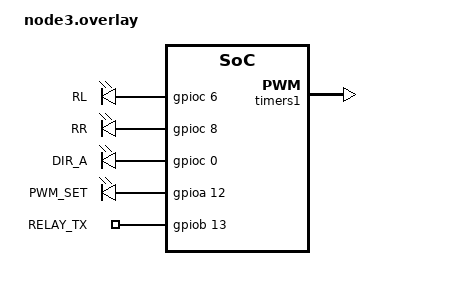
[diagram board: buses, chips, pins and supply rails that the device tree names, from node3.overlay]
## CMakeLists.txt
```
cmake_minimum_required(VERSION 3.20.0)

# One app, two zones. Pick the zone at build time:
#   west build -p always -b nucleo_f401re car_can_app -- -DNODE_ID=2   (N2 front / steering)
#   west build -p always -b nucleo_f401re car_can_app -- -DNODE_ID=3   (N3 rear / drivetrain)
set(NODE_ID 2 CACHE STRING "Zone node number (2 = steering, 3 = drivetrain)")

if(NOT NODE_ID STREQUAL "2" AND NOT NODE_ID STREQUAL "3")
  message(FATAL_ERROR "NODE_ID must be 2 or 3 (got ${NODE_ID})")
endif()

# boards/nucleo_f401re.overlay (shared pins) is picked up automatically;
# the zone-specific pins come from node2.overlay or node3.overlay.
# This must be set before find_package(Zephyr).
set(EXTRA_DTC_OVERLAY_FILE ${CMAKE_CURRENT_SOURCE_DIR}/node${NODE_ID}.overlay)

# Part 3 measurement build: -DWCET=1 adds per-task execution-time
# measurement (src/wcet.c) and the thread runtime statistics it needs.
set(WCET 0 CACHE STRING "1 = build with execution-time measurement")
if(WCET)
  list(APPEND EXTRA_CONF_FILE ${CMAKE_CURRENT_SOURCE_DIR}/wcet.conf)
endif()

find_package(Zephyr REQUIRED HINTS $ENV{ZEPHYR_BASE})
project(car_can_app)

target_compile_definitions(app PRIVATE NODE_ID=${NODE_ID} WCET=${WCET})
if(WCET)
  target_sources(app PRIVATE src/wcet.c)
endif()

target_sources(app PRIVATE
  src/main.c
  src/canbus.c
  src/state.c
  src/monitor.c
  src/button.c
  src/blink.c
  src/relay.c
  src/node${NODE_ID}.c
)
```

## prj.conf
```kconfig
# Drivers
CONFIG_GPIO=y
CONFIG_SPI=y
CONFIG_CAN=y
CONFIG_CAN_MCP2515=y
CONFIG_PWM=y
CONFIG_WATCHDOG=y

# MCP2515 interrupt thread. It is a cooperative thread (K_PRIO_COOP(2)),
# so it runs above every preemptible thread in this app; our RX callback
# runs inside it. 1024 is the driver default, stated here so it is visible.
CONFIG_CAN_MCP2515_INT_THREAD_PRIO=2
CONFIG_CAN_MCP2515_INT_THREAD_STACK_SIZE=1024

# Console (USART2 on the ST-LINK USB) for the 1 s status report
CONFIG_PRINTK=y
CONFIG_SERIAL=y

# PID (N3) uses float; save FP context when float threads preempt each other
CONFIG_FPU=y
CONFIG_FPU_SHARING=y

# Stack checking while developing; costs a little time per context switch
CONFIG_HW_STACK_PROTECTION=y
```

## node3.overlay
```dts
/*
 * N3 rear / drivetrain zone
 *   PWM_OUT  PA8  (D7)      TIM1_CH1 motor PWM, 20 kHz (scoped, not wired to the H-bridge)
 *   DIR_A    PC0  (A5)      1 = drive forward (IN1=1, IN2=0), 0 = brake
 *   PWM_SET  PA12 (morpho)  toggles each time DRIVE / PID writes a new duty
 *   RL       PC6  (morpho)  rear-left blinker LED + test point
 *   RR       PC8  (morpho)  rear-right blinker LED + test point
 *   RELAY_TX PB13 (morpho CN10-30) N3 relays in checkoff cases 3-4;
 *                           optional test point (not on the handout's N3 board)
 */

/ {
    zone_outputs {
        compatible = "gpio-leds";

        blink_left:  blink_left  { gpios = <&gpioc 6  GPIO_ACTIVE_HIGH>; label = "RL"; };
        blink_right: blink_right { gpios = <&gpioc 8  GPIO_ACTIVE_HIGH>; label = "RR"; };
        tp_dir_a:    tp_dir_a    { gpios = <&gpioc 0  GPIO_ACTIVE_HIGH>; label = "DIR_A"; };
        tp_pwm_set:  tp_pwm_set  { gpios = <&gpioa 12 GPIO_ACTIVE_HIGH>; label = "PWM_SET"; };
        tp_relay_tx: tp_relay_tx { gpios = <&gpiob 13 GPIO_ACTIVE_HIGH>; label = "RELAY_TX"; };
    };
};

&timers1 {
    status = "okay";
    motor_pwm: pwm {
        status = "okay";
        pinctrl-0 = <&tim1_ch1_pa8>;
        pinctrl-names = "default";
    };
};
```

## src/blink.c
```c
/*
 * blink.c - BLINK_F (N2) / BLINK_R (N3)
 *
 * The cockpit is the blinker master. It sends BLINK (state + phase) on
 * every state change and on every 500 ms toggle edge. This zone drives
 * its two lamps the moment a BLINK frame is handed over, so the front /
 * rear edge difference is the difference of the two receive paths, not
 * of two free-running clocks.
 *
 * In the error state the zone must show hazards even if the cockpit has
 * not (yet) switched BLINK to hazard, or the cockpit is gone: then it
 * falls back to its own 500 ms hazard timer (re-evaluated every 20 ms).
 *
 * Keeping the local timers of N2 and N3 in step (cold start with the
 * proxy stopped, or the cockpit lost):
 *   - every BLINK frame re-anchors the local timer to the cockpit's phase,
 *     so a fallback after the cockpit disappears continues in phase;
 *   - N2 puts "ms to my next edge" and "lamps on now" in its heartbeat
 *     (blink_sync_info) and N3 re-anchors to it on every HB_N2
 *     (blink_follow), so the two local timers stay within the receive
 *     latency of each other even when the cockpit was never there.
 */

#include <zephyr/kernel.h>
#include <zephyr/drivers/gpio.h>
#include <zephyr/spinlock.h>

#include "catalog.h"
#include "config.h"
#include "node.h"
#include "state.h"
#include "wcet.h"

#define BLINK_STALE_MS   1200       /* > two 500 ms toggles without BLINK = cockpit gone */
#define LOCAL_HALF_MS    500        /* 1 Hz hazard when running on our own timer */

static const struct gpio_dt_spec lamp_l = GPIO_DT_SPEC_GET(DT_NODELABEL(blink_left), gpios);
static const struct gpio_dt_spec lamp_r = GPIO_DT_SPEC_GET(DT_NODELABEL(blink_right), gpios);

static struct k_spinlock lock;
static uint8_t rx_state = BLINK_OFF;
static uint8_t rx_phase;
static uint32_t rx_ms;
static bool rx_any;
static uint32_t epoch_ms;          /* local hazard: lamps on during [epoch + 2k*500, epoch + (2k+1)*500) */

K_SEM_DEFINE(blink_sem, 0, 1);

void blink_on_frame(uint8_t state, uint8_t phase)
{
    k_spinlock_key_t key = k_spin_lock(&lock);
    rx_state = state;
    rx_phase = phase;
    rx_ms = k_uptime_get_32();
    rx_any = true;
    /* re-anchor the local timer: an "on" phase starts now, an "off" phase
     * started one half-period ago */
    epoch_ms = phase ? rx_ms : rx_ms - LOCAL_HALF_MS;
    k_spin_unlock(&lock, key);
    k_sem_give(&blink_sem);
}

static bool local_on(uint32_t now)
{
    return (((now - epoch_ms) / LOCAL_HALF_MS) % 2) == 0;
}

void blink_sync_info(uint8_t out[3])
{
    k_spinlock_key_t key = k_spin_lock(&lock);
    uint32_t now = k_uptime_get_32();
    uint32_t to_edge = LOCAL_HALF_MS - ((now - epoch_ms) % LOCAL_HALF_MS);
    bool on = local_on(now);
    k_spin_unlock(&lock, key);
    out[0] = (uint8_t)(to_edge & 0xFF);
    out[1] = (uint8_t)(to_edge >> 8);
    out[2] = on ? 1 : 0;
}

void blink_follow(const uint8_t in[3])
{
    uint32_t to_edge = (uint32_t)in[0] | ((uint32_t)in[1] << 8);
    if (to_edge == 0 || to_edge > LOCAL_HALF_MS) {
        return;                                 /* not a sync field (old firmware / cockpit) */
    }
    k_spinlock_key_t key = k_spin_lock(&lock);
    uint32_t now = k_uptime_get_32();
    uint32_t into_half = LOCAL_HALF_MS - to_edge;
    epoch_ms = now - into_half - (in[2] ? 0 : LOCAL_HALF_MS);
    k_spin_unlock(&lock, key);
}

void blink_kick(void)
{
    k_sem_give(&blink_sem);
}

static void lamps(uint8_t state, bool on)
{
    bool l = on && (state == BLINK_LEFT || state == BLINK_HAZARD);
    bool r = on && (state == BLINK_RIGHT || state == BLINK_HAZARD);
    gpio_pin_set_dt(&lamp_l, l);
    gpio_pin_set_dt(&lamp_r, r);
}

K_THREAD_STACK_DEFINE(blink_stack, STACK_SMALL);
static struct k_thread blink_thread;

static void blink_fn(void *a, void *b, void *c)
{
    ARG_UNUSED(a); ARG_UNUSED(b); ARG_UNUSED(c);

    while (1) {
        k_sem_take(&blink_sem, K_MSEC(BLINK_TICK_MS));
        WCET_BEGIN(blink);

        uint32_t now = k_uptime_get_32();
        k_spinlock_key_t key = k_spin_lock(&lock);
        uint8_t st = rx_state, ph = rx_phase;
        bool fresh = rx_any && (now - rx_ms) < BLINK_STALE_MS;
        bool lon = local_on(now);
        k_spin_unlock(&lock, key);

        bool err = state_in_error();
        if (fresh && (!err || st == BLINK_HAZARD)) {
            lamps(st, ph != 0);                         /* follow the cockpit */
        } else if (err) {
            lamps(BLINK_HAZARD, lon);                   /* local hazards, kept in step (above) */
        } else {
            lamps(BLINK_OFF, false);
        }
        WCET_END(W_BLINK, blink);
    }
}

int blink_init(void)
{
    if (!gpio_is_ready_dt(&lamp_l) || !gpio_is_ready_dt(&lamp_r)) {
        return -ENODEV;
    }
    gpio_pin_configure_dt(&lamp_l, GPIO_OUTPUT_INACTIVE);
    gpio_pin_configure_dt(&lamp_r, GPIO_OUTPUT_INACTIVE);

    k_thread_create(&blink_thread, blink_stack, K_THREAD_STACK_SIZEOF(blink_stack),
                    blink_fn, NULL, NULL, NULL, PRIO_BLINK, 0, K_NO_WAIT);
    k_thread_name_set(&blink_thread, "blink");
    return 0;
}
```

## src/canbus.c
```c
/*
 * canbus.c - two MCP2515 controllers, one dispatch path
 *
 * Receive path (per frame, per bus):
 *   INT pin falls -> driver GPIO ISR gives a semaphore
 *   -> MCP2515 interrupt thread (cooperative, above all our threads)
 *      reads the frame over SPI and calls rx_cb()
 *   -> rx_cb: stamp the bus as alive, put the frame on rx_q. No printing,
 *      no blocking.
 *   -> DISPATCH thread: toggle CAN_RX_x ("when dispatch first gets the
 *      frame"), drop our own / duplicate / stale copies by
 *      (ID, sender, seq), hand first copies to RELAY and to
 *      app_on_frame(). Nothing above DISPATCH sees a duplicate.
 *
 * Transmit: canbus_send_both() bumps the per-ID sequence counter once and
 * queues the frame on A then B without blocking (K_NO_WAIT plus a
 * completion callback), so a dead bus can never stall a task.
 */

#include <zephyr/kernel.h>
#include <zephyr/device.h>
#include <zephyr/drivers/can.h>
#include <zephyr/drivers/gpio.h>
#include <zephyr/sys/atomic.h>
#include <zephyr/spinlock.h>

#include <string.h>

#include "canbus.h"
#include "catalog.h"
#include "config.h"
#include "wcet.h"

static const struct device *const can_devs[NUM_BUSES] = {
    DEVICE_DT_GET(DT_NODELABEL(can_a)),
    DEVICE_DT_GET(DT_NODELABEL(can_b)),
};

static const struct gpio_dt_spec tp_rx[NUM_BUSES] = {
    GPIO_DT_SPEC_GET(DT_NODELABEL(tp_can_rx_a), gpios),
    GPIO_DT_SPEC_GET(DT_NODELABEL(tp_can_rx_b), gpios),
};
static const struct gpio_dt_spec tp_tx[NUM_BUSES] = {
    GPIO_DT_SPEC_GET(DT_NODELABEL(tp_can_tx_a), gpios),
    GPIO_DT_SPEC_GET(DT_NODELABEL(tp_can_tx_b), gpios),
};

/* IDs this zone listens to (everything in the catalog it consumes) */
#if NODE_ID == 2
static const uint16_t rx_ids[] = { ID_CTRL, ID_FAULT, ID_HB_N1, ID_HB_N3, ID_BLINK };
#else
static const uint16_t rx_ids[] = { ID_CTRL, ID_FAULT, ID_HB_N1, ID_HB_N2, ID_BLINK };
#endif

/* ------------------------------------------------------------------ */
/* Statistics and bus health (atomics: written from several contexts)  */
/* ------------------------------------------------------------------ */

static atomic_t last_rx_ms[NUM_BUSES];
static atomic_t degraded[NUM_BUSES];
static atomic_t st_rx[NUM_BUSES], st_tx_ok[NUM_BUSES], st_tx_err[NUM_BUSES], st_tx_refused[NUM_BUSES];
static atomic_t st_dup, st_stale, st_overflow;

/* ------------------------------------------------------------------ */
/* Receive: driver callback -> queue                                  */
/* ------------------------------------------------------------------ */

struct rx_item {
    struct can_frame frame;
    uint32_t t_ms;
    uint8_t bus;
};

K_MSGQ_DEFINE(rx_q, sizeof(struct rx_item), 32, 4);

/* Runs in the MCP2515 interrupt thread (cooperative), not in an ISR. */
static void rx_cb(const struct device *dev, struct can_frame *frame, void *user_data)
{
    ARG_UNUSED(dev);
    uint8_t bus = (uint8_t)(uintptr_t)user_data;
    struct rx_item it = {
        .frame = *frame,
        .t_ms = k_uptime_get_32(),
        .bus = bus,
    };

    wcet_rx_delivered(bus);
    atomic_set(&last_rx_ms[bus], (atomic_val_t)it.t_ms);
    atomic_inc(&st_rx[bus]);

    if (k_msgq_put(&rx_q, &it, K_NO_WAIT) != 0) {
        atomic_inc(&st_overflow);
    }
}

/* ------------------------------------------------------------------ */
/* Duplicate / stale filter - DISPATCH thread only, so no lock needed  */
/* ------------------------------------------------------------------ */

struct seen {
    uint16_t id;
    uint8_t src;
    uint8_t seq;
    uint32_t t_ms;
    bool used;
};

static struct seen seen_tab[12];

enum verdict { ACCEPT, DUPLICATE, STALE };

static enum verdict check_seq(uint16_t id, uint8_t src, uint8_t seq, uint32_t now)
{
    struct seen *e = NULL;

    for (int i = 0; i < ARRAY_SIZE(seen_tab); i++) {
        if (seen_tab[i].used && seen_tab[i].id == id && seen_tab[i].src == src) {
            e = &seen_tab[i];
            break;
        }
    }
    if (e == NULL) {
        for (int i = 0; i < ARRAY_SIZE(seen_tab); i++) {
            if (!seen_tab[i].used) {
                e = &seen_tab[i];
                e->used = true;
                e->id = id;
                e->src = src;
                e->seq = seq;
                e->t_ms = now;
                return ACCEPT;
            }
        }
        return ACCEPT;                          /* table full: never drop */
    }

    uint8_t ahead = (uint8_t)((seq - e->seq) & 0x0F);
    uint32_t age = now - e->t_ms;

    if (ahead == 0 && age < DEDUP_WINDOW_MS) {
        return DUPLICATE;                       /* other bus's copy, or the relayed copy */
    }
    if (ahead >= 9 && age < STALE_WINDOW_MS) {
        return STALE;                           /* 1..7 behind: an old buffered frame */
    }
    e->seq = seq;
    e->t_ms = now;
    return ACCEPT;
}

/* ------------------------------------------------------------------ */
/* DISPATCH thread                                                    */
/* ------------------------------------------------------------------ */

K_THREAD_STACK_DEFINE(dispatch_stack, STACK_MEDIUM);
static struct k_thread dispatch_thread;

static void dispatch_fn(void *a, void *b, void *c)
{
    ARG_UNUSED(a); ARG_UNUSED(b); ARG_UNUSED(c);
    struct rx_item it;

    while (1) {
        k_msgq_get(&rx_q, &it, K_FOREVER);
        gpio_pin_toggle_dt(&tp_rx[it.bus]);     /* CAN_RX_x: dispatch first gets the frame */
        WCET_BEGIN(disp);

        const struct can_frame *f = &it.frame;
        if (f->dlc != CAT_DLC || (f->flags & CAN_FRAME_RTR)) {
            continue;                           /* not a catalog frame */
        }
        uint8_t src = cat_source(f->id, f->data);
        if (src == 0 || src == NODE_ID) {
            continue;
        }

        switch (check_seq(f->id, src, f->data[0] & 0x0F, it.t_ms)) {
        case DUPLICATE:
            atomic_inc(&st_dup);
            continue;
        case STALE:
            atomic_inc(&st_stale);
            continue;
        case ACCEPT:
            break;
        }

        relay_post(f, it.bus);                  /* forwarded on the other bus by RELAY */
        app_on_frame(f, it.bus, src);
        WCET_END(W_DISPATCH, disp);
    }
}

/* ------------------------------------------------------------------ */
/* Transmit                                                           */
/* ------------------------------------------------------------------ */

#define TX_BUFFER_WAIT  K_USEC(600)

/* One counter per ID this zone sends (HB, FAULT, FORCE). */
static atomic_t seq_hb, seq_fault, seq_force, seq_other;

static atomic_t *seq_for(uint16_t id)
{
    switch (id) {
    case ID_HB_N2:
    case ID_HB_N3: return &seq_hb;
    case ID_FAULT: return &seq_fault;
    case ID_FORCE: return &seq_force;
    default:       return &seq_other;
    }
}

/* Runs in the driver's interrupt thread when a frame finishes. */
static void tx_cb(const struct device *dev, int error, void *user_data)
{
    ARG_UNUSED(dev);
    int bus = (int)(uintptr_t)user_data;
    wcet_tx_delivered(bus);
    if (error == 0) {
        atomic_inc(&st_tx_ok[bus]);
    } else {
        atomic_inc(&st_tx_err[bus]);
    }
}

static int queue_on(int bus, const struct can_frame *f)
{
    gpio_pin_toggle_dt(&tp_tx[bus]);            /* CAN_TX_x: the call that queues the frame */
    WCET_BEGIN(spi);
    /* Wait up to TX_BUFFER_WAIT for one of the 3 MCP2515 TX buffers to free
     * up (one frame on the wire is 270 us), instead of dropping the frame
     * when two or three others are still queued. The completion is still a
     * callback, so this never waits for the frame itself to be sent. */
    int err = can_send(can_devs[bus], f, TX_BUFFER_WAIT, tx_cb, (void *)(uintptr_t)bus);
    WCET_END(W_SPI_TX, spi);
    if (err != 0) {
        atomic_inc(&st_tx_refused[bus]);        /* buffers full (no ACK) or controller stopped */
    }
    return err;
}

void canbus_send_both(uint16_t id, uint8_t data[8], bool is_heartbeat)
{
    uint8_t seq = (uint8_t)atomic_inc(seq_for(id));    /* bumped once for both copies */

    struct can_frame f = {
        .id = id,
        .dlc = CAT_DLC,
        .flags = 0,
    };
    data[0] = (uint8_t)((data[0] & 0xF0) | (seq & 0x0F));
    memcpy(f.data, data, CAT_DLC);

    for (int bus = 0; bus < NUM_BUSES; bus++) {
        if (atomic_get(&degraded[bus]) && !is_heartbeat) {
            continue;
        }
        queue_on(bus, &f);
    }
}

int canbus_send_one(int bus, const struct can_frame *frame)
{
    if (atomic_get(&degraded[bus])) {
        return -ENETDOWN;
    }
    return queue_on(bus, frame);
}

/* ------------------------------------------------------------------ */
/* Health                                                             */
/* ------------------------------------------------------------------ */

uint32_t canbus_last_rx_ms(int bus)
{
    return (uint32_t)atomic_get(&last_rx_ms[bus]);
}

bool canbus_is_degraded(int bus)
{
    return atomic_get(&degraded[bus]) != 0;
}

void canbus_set_degraded(int bus, bool deg)
{
    bool was = atomic_set(&degraded[bus], deg ? 1 : 0) != 0;

    if (deg && !was) {
        /* Throw away frames stuck in the TX buffers waiting for an ACK,
         * so stale CTRL/HB copies are not sent when the wire comes back.
         * Filters survive stop/start. */
        can_stop(can_devs[bus]);
        can_start(can_devs[bus]);
    }
}

void canbus_get_stats(struct canbus_stats *out)
{
    for (int b = 0; b < NUM_BUSES; b++) {
        out->rx[b] = atomic_get(&st_rx[b]);
        out->tx_ok[b] = atomic_get(&st_tx_ok[b]);
        out->tx_err[b] = atomic_get(&st_tx_err[b]);
        out->tx_refused[b] = atomic_get(&st_tx_refused[b]);
    }
    out->dup_dropped = atomic_get(&st_dup);
    out->stale_dropped = atomic_get(&st_stale);
    out->rxq_overflow = atomic_get(&st_overflow);
}

const struct device *canbus_dev(int bus)
{
    return can_devs[bus];
}

/* ------------------------------------------------------------------ */
/* Init                                                               */
/* ------------------------------------------------------------------ */

int canbus_init(void)
{
    uint32_t now = k_uptime_get_32();

    for (int bus = 0; bus < NUM_BUSES; bus++) {
        if (!device_is_ready(can_devs[bus]) ||
            !gpio_is_ready_dt(&tp_rx[bus]) || !gpio_is_ready_dt(&tp_tx[bus])) {
            printk("CAN %c: not ready\n", 'A' + bus);
            return -ENODEV;
        }
        gpio_pin_configure_dt(&tp_rx[bus], GPIO_OUTPUT_INACTIVE);
        gpio_pin_configure_dt(&tp_tx[bus], GPIO_OUTPUT_INACTIVE);

        for (int i = 0; i < ARRAY_SIZE(rx_ids); i++) {
            const struct can_filter flt = {
                .id = rx_ids[i],
                .mask = CAN_STD_ID_MASK,
                .flags = 0,
            };
            int id = can_add_rx_filter(can_devs[bus], rx_cb, (void *)(uintptr_t)bus, &flt);
            if (id < 0) {
                printk("CAN %c: filter 0x%03x failed (%d)\n", 'A' + bus, rx_ids[i], id);
                return id;
            }
        }

        int err = can_start(can_devs[bus]);
        if (err != 0) {
            printk("CAN %c: start failed (%d)\n", 'A' + bus, err);
            return err;
        }
        atomic_set(&last_rx_ms[bus], (atomic_val_t)now);   /* grace period at boot */
    }

    k_thread_create(&dispatch_thread, dispatch_stack, K_THREAD_STACK_SIZEOF(dispatch_stack),
                    dispatch_fn, NULL, NULL, NULL, PRIO_DISPATCH, 0, K_NO_WAIT);
    k_thread_name_set(&dispatch_thread, "dispatch");
    return 0;
}
```

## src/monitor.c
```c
#include <zephyr/kernel.h>
#include <zephyr/drivers/gpio.h>
#include <zephyr/drivers/watchdog.h>
#include <zephyr/sys/atomic.h>

#include "canbus.h"
#include "catalog.h"
#include "config.h"
#include "node.h"
#include "state.h"
#include "wcet.h"

static const struct gpio_dt_spec led_deg[NUM_BUSES] = {
    GPIO_DT_SPEC_GET(DT_NODELABEL(led_deg_a), gpios),
    GPIO_DT_SPEC_GET(DT_NODELABEL(led_deg_b), gpios),
};

static const struct device *const wdt_dev = DEVICE_DT_GET(DT_NODELABEL(iwdg));
static int wdt_channel = -1;
static atomic_t wdt_bits;

void wdt_checkin(uint32_t bit)
{
    atomic_or(&wdt_bits, (atomic_val_t)bit);
}

#if NODE_ID == 2
static const uint8_t other_zones[2] = { ZONE_N1, ZONE_N3 };
#else
static const uint8_t other_zones[2] = { ZONE_N1, ZONE_N2 };
#endif

/* ------------------------------------------------------------------ */
/* HB_TX                                                              */
/* ------------------------------------------------------------------ */

static uint8_t zones_heard_bits(uint32_t now)
{
    uint8_t bits = (uint8_t)(1u << NODE_ID);
    for (int i = 0; i < 2; i++) {
        struct peer_info p;
        state_get_peer(other_zones[i], &p);
        if (p.last_hb_ms != 0 && (now - p.last_hb_ms) < ZONE_TIMEOUT_MS) {
            bits |= (uint8_t)(1u << other_zones[i]);
        }
    }
    return bits;
}

K_TIMER_DEFINE(hb_timer, NULL, NULL);
K_THREAD_STACK_DEFINE(hb_tx_stack, STACK_SMALL);
static struct k_thread hb_tx_thread;

static void hb_tx_fn(void *a, void *b, void *c)
{
    ARG_UNUSED(a); ARG_UNUSED(b); ARG_UNUSED(c);
    const uint16_t my_id = (NODE_ID == 2) ? ID_HB_N2 : ID_HB_N3;

    k_timer_start(&hb_timer, K_MSEC(HB_PERIOD_MS), K_MSEC(HB_PERIOD_MS));
    while (1) {
        k_timer_status_sync(&hb_timer);
        WCET_BEGIN(hbtx);

        if (state_reasons() & ERR_TEST) {
            /* Test button: this node has failed itself. It sent one FAULT
             * and goes silent so the others also see missed heartbeats. */
            WCET_END(W_HB_TX, hbtx);
            wdt_checkin(WDT_BIT_HB_TX);
            continue;
        }
        uint32_t now = k_uptime_get_32();
        uint8_t d[8] = { 0 };
        d[1] = state_in_error() ? 0 : 1;
        d[2] = (canbus_is_degraded(BUS_A) ? 0 : 0x01) | (canbus_is_degraded(BUS_B) ? 0 : 0x02);
        d[3] = (uint8_t)state_reasons();
        d[4] = zones_heard_bits(now);
#if NODE_ID == 2
        blink_sync_info(&d[5]);                 /* local hazard timing for N3 */
#endif
        canbus_send_both(my_id, d, true);
        WCET_END(W_HB_TX, hbtx);

        wdt_checkin(WDT_BIT_HB_TX);
    }
}

/* ------------------------------------------------------------------ */
/* HB_MON                                                             */
/* ------------------------------------------------------------------ */

K_THREAD_STACK_DEFINE(hb_mon_stack, STACK_SMALL);
static struct k_thread hb_mon_thread;

static void hb_mon_fn(void *a, void *b, void *c)
{
    ARG_UNUSED(a); ARG_UNUSED(b); ARG_UNUSED(c);
    bool zone_alive[2] = { false, false };

    while (1) {
        k_msleep(HB_MON_PERIOD_MS);
        WCET_BEGIN(hbmon);
        uint32_t now = k_uptime_get_32();

        /* Per-bus health (R4.7): any frame from anyone on that bus */
        for (int bus = 0; bus < NUM_BUSES; bus++) {
            /* signed difference: a frame can arrive (rx_cb, cooperative thread) between
             * reading 'now' and last_rx, which made the unsigned subtraction wrap and look
             * like 4 billion ms of silence (spurious degrade + TX flush) */
            bool deg = (int32_t)(now - canbus_last_rx_ms(bus)) >= (int32_t)DEG_TIMEOUT_MS;
            if (deg != canbus_is_degraded(bus)) {
                /* LED FIRST: it must never wait for the controller flush below */
                gpio_pin_set_dt(&led_deg[bus], deg);
                k_busy_wait(200);                       /* let the pin settle, then read the real level */
                printk("DEG %c %s at %u ms (last rx %u ms ago); pin set to %d, reads back %d\n",
                       'A' + bus, deg ? "ON " : "off", now, now - canbus_last_rx_ms(bus),
                       deg ? 1 : 0, gpio_pin_get_dt(&led_deg[bus]));
                canbus_set_degraded(bus, deg);          /* can_stop()/can_start() when entering */
                printk("DEG %c flush done, took %u ms\n", 'A' + bus, k_uptime_get_32() - now);
            }
        }

        /* Zone liveness (R4.5): heartbeat on at least one bus, relayed counts */
        bool all_alive = true;
        bool remote_still_reported = false;
        for (int i = 0; i < 2; i++) {
            struct peer_info p;
            state_get_peer(other_zones[i], &p);
            bool alive = p.last_hb_ms != 0 && (now - p.last_hb_ms) < ZONE_TIMEOUT_MS;
            if (zone_alive[i] && !alive) {
                state_send_fault(other_zones[i], FAULT_ZONE_LOST);
            }
            zone_alive[i] = alive;
            all_alive &= alive;
            if (alive && (p.reasons & ERR_PROPAGATE)) {
                remote_still_reported = true;
            }
        }
        if (all_alive) {
            state_clear(ERR_ZONE_LOST);
        } else {
            state_set(ERR_ZONE_LOST);
        }

        /* CTRL stream */
        struct ctrl_cmd c;
        state_get_ctrl(&c);
        if (c.valid && (now - c.t_ms) < CTRL_TIMEOUT_MS) {
            state_clear(ERR_CTRL_LOST);
        } else {
            state_set(ERR_CTRL_LOST);
        }

        /* Holds */
        uint32_t r = state_reasons();
        if ((r & ERR_BADCMD) && (now - state_last_badcmd_ms()) >= BADCMD_HOLD_MS) {
            state_clear(ERR_BADCMD);
        }
        if ((r & ERR_REMOTE) && !remote_still_reported &&
            (now - state_last_remote_fault_ms()) >= REMOTE_HOLD_MS) {
            state_clear(ERR_REMOTE);
        }

        WCET_END(W_HB_MON, hbmon);
        wdt_checkin(WDT_BIT_HB_MON);
    }
}

/* ------------------------------------------------------------------ */
/* Report (low priority, printk only here)                             */
/* ------------------------------------------------------------------ */

K_THREAD_STACK_DEFINE(report_stack, STACK_REPORT);
static struct k_thread report_thread;

static void report_fn(void *a, void *b, void *c)
{
    ARG_UNUSED(a); ARG_UNUSED(b); ARG_UNUSED(c);

    uint32_t passes = 0;

    while (1) {
        k_msleep(REPORT_PERIOD_MS);
        if ((++passes % 5) == 0) {
            wcet_report();                      /* no-op unless built with -DWCET=1 */
        }
        uint32_t now = k_uptime_get_32();
        struct canbus_stats s;
        struct ctrl_cmd ctl;
        canbus_get_stats(&s);
        state_get_ctrl(&ctl);
        uint32_t r = state_reasons();

        printk("[%u] N%d %s reasons=0x%02x%s%s%s%s%s | DEG A=%d B=%d | last rx age A=%d B=%d ms | LED pin reads A=%d B=%d | heard=0x%02x\n",
               now, NODE_ID, r ? "ERROR" : "NORMAL", r,
               (r & ERR_CTRL_LOST) ? " CTRL_LOST" : "",
               (r & ERR_ZONE_LOST) ? " ZONE_LOST" : "",
               (r & ERR_TEST) ? " TEST" : "",
               (r & ERR_BADCMD) ? " BADCMD" : "",
               (r & ERR_REMOTE) ? " REMOTE" : "",
               canbus_is_degraded(BUS_A), canbus_is_degraded(BUS_B),
               (int32_t)(now - canbus_last_rx_ms(BUS_A)), (int32_t)(now - canbus_last_rx_ms(BUS_B)),
               gpio_pin_get_dt(&led_deg[BUS_A]), gpio_pin_get_dt(&led_deg[BUS_B]),
               zones_heard_bits(now));
        printk("    rx A/B %u/%u  tx ok A/B %u/%u  err %u/%u  refused %u/%u  dup %u stale %u ovf %u\n",
               s.rx[0], s.rx[1], s.tx_ok[0], s.tx_ok[1], s.tx_err[0], s.tx_err[1],
               s.tx_refused[0], s.tx_refused[1], s.dup_dropped, s.stale_dropped, s.rxq_overflow);
        uint32_t entries, cnt[5];
        state_get_diag(&entries, cnt);
        printk("    error entries=%u  set counts: CTRL_LOST=%u ZONE_LOST=%u TEST=%u BADCMD=%u REMOTE=%u\n",
               entries, cnt[0], cnt[1], cnt[2], cnt[3], cnt[4]);
        if (ctl.valid) {
            printk("    ctrl steer=%d thr=%u brk=%u btn=0x%02x age=%u ms\n",
                   ctl.steer, ctl.thr, ctl.brk, ctl.buttons, now - ctl.t_ms);
        }
    }
}

/* ------------------------------------------------------------------ */
/* Watchdog                                                           */
/* ------------------------------------------------------------------ */

K_THREAD_STACK_DEFINE(wdt_stack, STACK_SMALL);
static struct k_thread wdt_thread;

static void wdt_fn(void *a, void *b, void *c)
{
    ARG_UNUSED(a); ARG_UNUSED(b); ARG_UNUSED(c);

    while (1) {
        k_msleep(WDT_FEED_PERIOD_MS);
        if (wdt_channel >= 0 &&
            (atomic_get(&wdt_bits) & WDT_ALL_BITS) == WDT_ALL_BITS) {
            atomic_clear(&wdt_bits);
            wdt_feed(wdt_dev, wdt_channel);
        }
    }
}

static int watchdog_start(void)
{
    if (!device_is_ready(wdt_dev)) {
        return -ENODEV;
    }
    struct wdt_timeout_cfg cfg = {
        .window = { .min = 0, .max = WDT_TIMEOUT_MS },
        .callback = NULL,
        .flags = WDT_FLAG_RESET_SOC,
    };
    wdt_channel = wdt_install_timeout(wdt_dev, &cfg);
    if (wdt_channel < 0) {
        return wdt_channel;
    }
    /* Pause while halted by the debugger if the hardware allows it */
    int err = wdt_setup(wdt_dev, WDT_OPT_PAUSE_HALTED_BY_DBG);
    if (err != 0) {
        err = wdt_setup(wdt_dev, 0);
    }
    return err;
}

/* ------------------------------------------------------------------ */

int monitor_init(void)
{
    for (int bus = 0; bus < NUM_BUSES; bus++) {
        if (!gpio_is_ready_dt(&led_deg[bus])) {
            return -ENODEV;
        }
        gpio_pin_configure_dt(&led_deg[bus], GPIO_OUTPUT_INACTIVE);
    }

    /* LED self-test at boot: both DEG LEDs on for 500 ms. If an LED does not flash here,
     * the problem is its pin, wiring or polarity, not the degrade logic. */
    for (int bus = 0; bus < NUM_BUSES; bus++) {
        gpio_pin_set_dt(&led_deg[bus], 1);
    }
    k_msleep(500);
    for (int bus = 0; bus < NUM_BUSES; bus++) {
        gpio_pin_set_dt(&led_deg[bus], 0);
    }
    printk("DEG LED self-test done (A=PA4, B=PB0)\n");

    k_thread_create(&hb_tx_thread, hb_tx_stack, K_THREAD_STACK_SIZEOF(hb_tx_stack),
                    hb_tx_fn, NULL, NULL, NULL, PRIO_HB_TX, 0, K_NO_WAIT);
    k_thread_name_set(&hb_tx_thread, "hb_tx");
    k_thread_create(&hb_mon_thread, hb_mon_stack, K_THREAD_STACK_SIZEOF(hb_mon_stack),
                    hb_mon_fn, NULL, NULL, NULL, PRIO_HB_MON, 0, K_NO_WAIT);
    k_thread_name_set(&hb_mon_thread, "hb_mon");
    k_thread_create(&report_thread, report_stack, K_THREAD_STACK_SIZEOF(report_stack),
                    report_fn, NULL, NULL, NULL, PRIO_REPORT, 0, K_NO_WAIT);
    k_thread_name_set(&report_thread, "report");

    int err = watchdog_start();
    if (err != 0) {
        printk("watchdog not started (%d)\n", err);
    }
    k_thread_create(&wdt_thread, wdt_stack, K_THREAD_STACK_SIZEOF(wdt_stack),
                    wdt_fn, NULL, NULL, NULL, PRIO_WATCHDOG, 0, K_NO_WAIT);
    k_thread_name_set(&wdt_thread, "wdt");
    return 0;
}
```

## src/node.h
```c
/*
 * node.h - what each zone (node2.c / node3.c) provides to the common code
 */
#ifndef NODE_H
#define NODE_H

#include <stdint.h>

int node_init(void);

/* A new valid CTRL is available (state_get_ctrl): wake STEER / DRIVE. */
void node_on_ctrl(void);

/* Drive the zone's outputs to their fail-safe values now
 * (N2: servo centered; N3: motor braked). Called on entering error,
 * from thread context. */
void node_apply_fail_safe(void);

/* Watchdog: bit set by each periodic thread that must keep running */
#define WDT_BIT_HB_TX   (1u << 0)
#define WDT_BIT_HB_MON  (1u << 1)
#define WDT_BIT_NODE    (1u << 2)   /* PID on N3, FORCE_TX on N2 */
#define WDT_ALL_BITS    (WDT_BIT_HB_TX | WDT_BIT_HB_MON | WDT_BIT_NODE)
void wdt_checkin(uint32_t bit);

/* Blinker outputs (blink.c) */
int blink_init(void);
void blink_on_frame(uint8_t state, uint8_t phase);
void blink_kick(void);      /* re-evaluate now (error state changed) */
void blink_sync_info(uint8_t out[3]);   /* N2: hazard timing for its heartbeat */
void blink_follow(const uint8_t in[3]); /* N3: align to N2's hazard timing */

int button_init(void);
int monitor_init(void);

#endif /* NODE_H */
```
